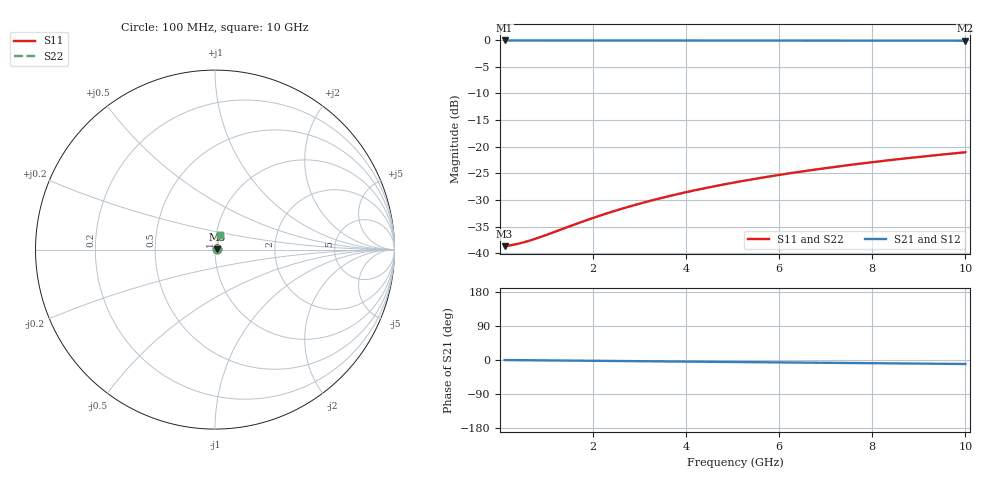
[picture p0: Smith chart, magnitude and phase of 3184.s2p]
# Hz S RI R 50.00
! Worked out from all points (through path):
!   100 points, 100 MHz to 10 GHz, reference 50 ohm
!   highest |S21| = -0.10 dB at 100 MHz (marker M1); lowest = -0.1 dB at 10 GHz (marker M2)
!   group delay of S21, straight-line fit = 2.92 ps
!   lowest |S11| = -38.7 dB at 100 MHz (marker M3), VSWR 1.02, Z = 51.2 + j0.0883 ohm
!   |S11| at or under -10 dB: start of sweep to end of sweep
!   |S22| runs from -38.7 to -21.1 dB; largest |S21 - S12| = 0
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1e8  0.0116 0.000863  0.9884 -0.00182  0.9884 -0.00182  0.0116 0.000863
3e8  0.0118 0.00259  0.9882 -0.00545  0.9882 -0.00545  0.0118 0.00259
4e8  0.0118 0.00345  0.9882 -0.00726  0.9882 -0.00726  0.0118 0.00345
5e8  0.0119 0.00431  0.9881 -0.00908  0.9881 -0.00908  0.0119 0.00431
7e8  0.012 0.00603  0.988 -0.0127  0.988 -0.0127  0.012 0.00603
1e9  0.0121 0.00862  0.9878 -0.0181  0.9878 -0.0181  0.0121 0.00862
1.8e9  0.0126 0.0155  0.9872 -0.0327  0.9872 -0.0327  0.0126 0.0155
2.2e9  0.013 0.0189  0.9868 -0.0399  0.9868 -0.0399  0.013 0.0189
2.6e9  0.0133 0.0224  0.9864 -0.0471  0.9864 -0.0471  0.0133 0.0224
3e9  0.0137 0.0258  0.9858 -0.0544  0.9858 -0.0544  0.0137 0.0258
3.4e9  0.0142 0.0292  0.9853 -0.0616  0.9853 -0.0616  0.0142 0.0292
3.8e9  0.0147 0.0326  0.9847 -0.0688  0.9847 -0.0688  0.0147 0.0326
4.2e9  0.0152 0.036  0.984 -0.076  0.984 -0.076  0.0152 0.036
4.6e9  0.0158 0.0394  0.9832 -0.0832  0.9832 -0.0832  0.0158 0.0394
5.1e9  0.0166 0.0436  0.9822 -0.0922  0.9822 -0.0922  0.0166 0.0436
5.5e9  0.0173 0.047  0.9813 -0.0994  0.9813 -0.0994  0.0173 0.047
5.9e9  0.018 0.0503  0.9803 -0.1066  0.9803 -0.1066  0.018 0.0503
6.7e9  0.0197 0.057  0.9782 -0.1209  0.9782 -0.1209  0.0197 0.057
7.5e9  0.0215 0.0636  0.9758 -0.1351  0.9758 -0.1351  0.0215 0.0636
8.4e9  0.0238 0.071  0.9729 -0.1511  0.9729 -0.1511  0.0238 0.071
9.2e9  0.0261 0.0774  0.97 -0.1652  0.97 -0.1652  0.0261 0.0774
1e10  0.0285 0.0838  0.9669 -0.1792  0.9669 -0.1792  0.0285 0.0838
